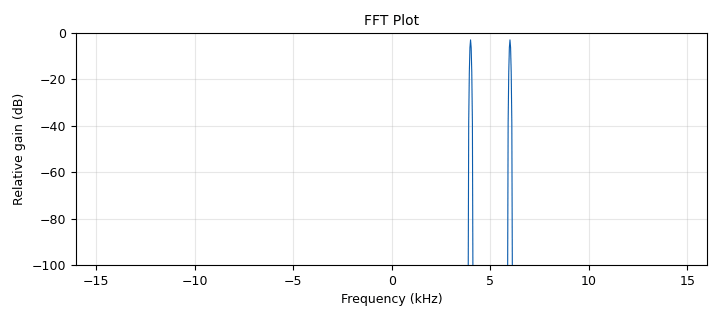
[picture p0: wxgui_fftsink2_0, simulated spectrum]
<?xml version='1.0' encoding='utf-8'?>
<?grc format='1' created='3.7.7'?>
<flow_graph>
<block>
<key>options</key>
<param><key>id</key><value>parameter_demo</value></param>
<param><key>title</key><value>Parameter Demo</value></param>
<param><key>author</key><value>Chris Kuethe &lt;chris.kuethe@gmail.com&gt;</value></param>
<param><key>generate_options</key><value>wx_gui</value></param>
<param><key>category</key><value>Custom</value></param>
</block>
<block>
<key>variable</key>
<param><key>id</key><value>samp_rate</value></param>
<param><key>value</key><value>32000</value></param>
</block>
<block>
<key>variable_slider</key>
<param><key>id</key><value>slider_frequency</value></param>
<param><key>label</key><value></value></param>
<param><key>value</key><value>variable_frequency</value></param>
<param><key>min</key><value>-15000</value></param>
<param><key>max</key><value>15000</value></param>
<param><key>num_steps</key><value>200</value></param>
<param><key>style</key><value>wx.SL_HORIZONTAL</value></param>
<param><key>converver</key><value>int_converter</value></param>
</block>
<block>
<key>parameter</key>
<param><key>id</key><value>variable_frequency</value></param>
<param><key>label</key><value>variable_frequency</value></param>
<param><key>value</key><value>4000</value></param>
<param><key>type</key><value>intx</value></param>
<param><key>short_id</key><value>v</value></param>
</block>
<block>
<key>parameter</key>
<param><key>id</key><value>fixed_frequency</value></param>
<param><key>label</key><value>fixed_frequency</value></param>
<param><key>value</key><value>6000</value></param>
<param><key>type</key><value>intx</value></param>
<param><key>short_id</key><value>f</value></param>
</block>
<block>
<key>analog_sig_source_x</key>
<param><key>id</key><value>analog_sig_source_x_1</value></param>
<param><key>type</key><value>complex</value></param>
<param><key>samp_rate</key><value>samp_rate</value></param>
<param><key>waveform</key><value>analog.GR_COS_WAVE</value></param>
<param><key>freq</key><value>slider_frequency</value></param>
<param><key>amp</key><value>1</value></param>
<param><key>offset</key><value>0</value></param>
</block>
<block>
<key>analog_sig_source_x</key>
<param><key>id</key><value>analog_sig_source_x_0</value></param>
<param><key>type</key><value>complex</value></param>
<param><key>samp_rate</key><value>samp_rate</value></param>
<param><key>waveform</key><value>analog.GR_COS_WAVE</value></param>
<param><key>freq</key><value>fixed_frequency</value></param>
<param><key>amp</key><value>1</value></param>
<param><key>offset</key><value>0</value></param>
</block>
<block>
<key>blocks_add_xx</key>
<param><key>id</key><value>blocks_add_xx_0</value></param>
<param><key>type</key><value>complex</value></param>
</block>
<block>
<key>blocks_throttle</key>
<param><key>id</key><value>blocks_throttle_0</value></param>
<param><key>type</key><value>complex</value></param>
<param><key>samples_per_second</key><value>samp_rate</value></param>
</block>
<block>
<key>wxgui_fftsink2</key>
<param><key>id</key><value>wxgui_fftsink2_0</value></param>
<param><key>type</key><value>complex</value></param>
<param><key>title</key><value>FFT Plot</value></param>
<param><key>samp_rate</key><value>samp_rate</value></param>
<param><key>baseband_freq</key><value>0</value></param>
<param><key>y_per_div</key><value>10</value></param>
<param><key>y_divs</key><value>10</value></param>
<param><key>ref_level</key><value>0</value></param>
<param><key>ref_scale</key><value>2.0</value></param>
<param><key>fft_size</key><value>1024</value></param>
<param><key>fft_rate</key><value>15</value></param>
<param><key>peak_hold</key><value>False</value></param>
<param><key>average</key><value>False</value></param>
<param><key>avg_alpha</key><value>0</value></param>
<param><key>win</key><value>None</value></param>
<param><key>freqvar</key><value>None</value></param>
</block>
<connection><source_block_id>analog_sig_source_x_1</source_block_id><sink_block_id>blocks_add_xx_0</sink_block_id><source_key>0</source_key><sink_key>1</sink_key></connection>
<connection><source_block_id>analog_sig_source_x_0</source_block_id><sink_block_id>blocks_add_xx_0</sink_block_id><source_key>0</source_key><sink_key>0</sink_key></connection>
<connection><source_block_id>blocks_add_xx_0</source_block_id><sink_block_id>blocks_throttle_0</sink_block_id><source_key>0</source_key><sink_key>0</sink_key></connection>
<connection><source_block_id>blocks_throttle_0</source_block_id><sink_block_id>wxgui_fftsink2_0</sink_block_id><source_key>0</source_key><sink_key>0</sink_key></connection>
</flow_graph>
